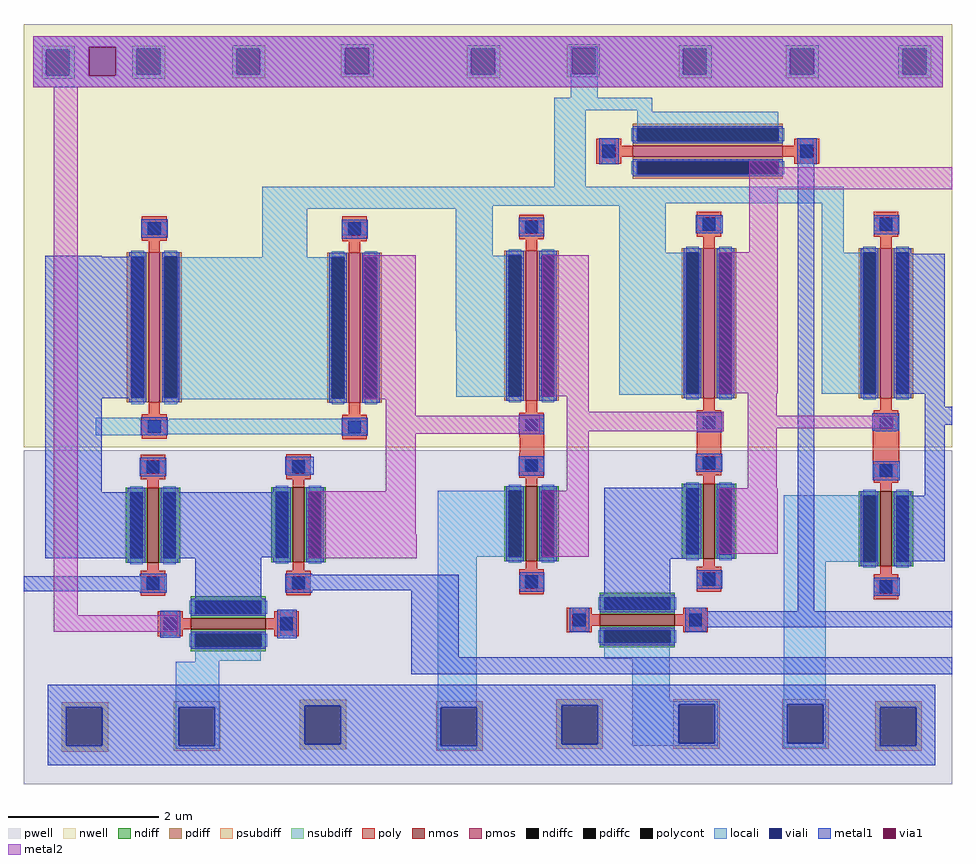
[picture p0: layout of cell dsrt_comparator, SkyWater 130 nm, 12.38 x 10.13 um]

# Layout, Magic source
magic
tech sky130A
magscale 1 2
<< nwell >>
rect -272 -1126 2204 2
<< pwell >>
rect -272 -2024 2204 -1134
<< psubdiff >>
rect -170 -1938 -46 -1806
rect 128 -1936 252 -1804
rect 464 -1932 588 -1800
rect 828 -1936 952 -1804
rect 1148 -1930 1272 -1798
rect 1460 -1930 1584 -1798
rect 1750 -1930 1874 -1798
rect 1998 -1936 2122 -1804
<< nsubdiff >>
rect -224 -144 -136 -56
rect 18 -144 106 -56
rect 284 -142 372 -54
rect 574 -140 662 -52
rect 910 -142 998 -54
rect 1176 -140 1264 -52
rect 1474 -142 1562 -54
rect 1760 -142 1848 -54
rect 2060 -142 2148 -54
<< poly >>
rect 1062 -1090 1104 -1048
rect 1050 -1152 1116 -1090
rect 1522 -1140 1588 -1084
rect 1062 -1196 1104 -1152
rect 1992 -1162 2062 -1084
<< locali >>
rect 1186 -62 1258 -58
rect 1186 -130 1190 -62
rect 1252 -130 1258 -62
rect 1186 -194 1258 -130
rect 1142 -228 1404 -194
rect 1142 -432 1226 -228
rect 1364 -232 1404 -228
rect 1364 -310 1740 -232
rect 364 -476 1914 -432
rect 364 -482 1440 -476
rect 364 -490 978 -482
rect 364 -620 484 -490
rect 880 -616 978 -490
rect 1316 -608 1440 -482
rect 1856 -608 1914 -476
rect 104 -998 584 -620
rect 880 -816 1054 -616
rect 882 -992 1054 -816
rect 1316 -986 1530 -608
rect 1856 -984 2000 -608
rect -80 -1054 38 -1048
rect 116 -1054 626 -1050
rect -80 -1092 626 -1054
rect -80 -1094 102 -1092
rect 832 -1418 1054 -1242
rect 186 -1696 360 -1624
rect 186 -1698 250 -1696
rect 134 -1820 250 -1698
rect 134 -1922 142 -1820
rect 238 -1922 250 -1820
rect 832 -1820 936 -1418
rect 1754 -1432 2004 -1254
rect 1276 -1690 1450 -1614
rect 1350 -1804 1450 -1690
rect 1350 -1812 1578 -1804
rect 134 -1930 250 -1922
rect 832 -1922 840 -1820
rect 1350 -1916 1474 -1812
rect 1570 -1916 1578 -1812
rect 1350 -1922 1578 -1916
rect 1754 -1812 1866 -1432
rect 1754 -1916 1764 -1812
rect 1860 -1916 1866 -1812
rect 832 -1932 936 -1922
rect 1754 -1926 1866 -1916
<< viali >>
rect -212 -134 -150 -66
rect 30 -132 92 -64
rect 296 -132 358 -64
rect 586 -130 648 -62
rect 922 -132 984 -64
rect 1190 -130 1252 -62
rect 1486 -132 1548 -64
rect 1772 -132 1834 -64
rect 2072 -132 2134 -64
rect -158 -1922 -62 -1820
rect 142 -1922 238 -1820
rect 478 -1918 574 -1816
rect 840 -1922 936 -1820
rect 1162 -1918 1258 -1814
rect 1474 -1916 1570 -1812
rect 1764 -1916 1860 -1812
rect 2012 -1922 2108 -1820
<< metal1 >>
rect -246 -58 2178 -30
rect -246 -66 -98 -58
rect -246 -134 -212 -66
rect -150 -134 -98 -66
rect -246 -136 -98 -134
rect -26 -62 2178 -58
rect -26 -64 586 -62
rect -26 -132 30 -64
rect 92 -132 296 -64
rect 358 -130 586 -64
rect 648 -64 1190 -62
rect 648 -130 922 -64
rect 358 -132 922 -130
rect 984 -130 1190 -64
rect 1252 -64 2178 -62
rect 1252 -130 1486 -64
rect 984 -132 1486 -130
rect 1548 -132 1772 -64
rect 1834 -132 2072 -64
rect 2134 -132 2178 -64
rect -26 -136 2178 -132
rect -246 -166 2178 -136
rect 1262 -372 1314 -302
rect 1790 -372 1842 -302
rect 42 -568 112 -518
rect 576 -570 646 -520
rect 1048 -564 1116 -514
rect 1520 -556 1592 -508
rect -214 -618 -64 -616
rect -214 -996 48 -618
rect -214 -1246 -64 -996
rect 40 -1094 112 -1046
rect 576 -1096 646 -1048
rect 1048 -1092 1116 -1040
rect 1522 -1086 1590 -1034
rect 38 -1204 108 -1154
rect 426 -1200 502 -1152
rect 1048 -1202 1116 -1150
rect 1520 -1192 1590 -1144
rect 1108 -1240 1116 -1238
rect -214 -1422 46 -1246
rect 100 -1380 434 -1246
rect 100 -1420 436 -1380
rect 100 -1422 362 -1420
rect 38 -1470 110 -1464
rect -272 -1510 110 -1470
rect 38 -1514 110 -1510
rect 92 -1634 146 -1562
rect 186 -1570 362 -1422
rect 1276 -1424 1526 -1234
rect 426 -1466 498 -1464
rect 426 -1508 888 -1466
rect 426 -1514 498 -1508
rect 404 -1636 456 -1560
rect 762 -1686 888 -1508
rect 1050 -1512 1116 -1460
rect 1184 -1618 1236 -1554
rect 1276 -1560 1452 -1424
rect 1522 -1504 1590 -1454
rect 1492 -1564 1548 -1554
rect 1792 -1564 1836 -372
rect 1994 -558 2062 -508
rect 2056 -984 2184 -610
rect 2130 -1018 2184 -984
rect 1990 -1082 2062 -1036
rect 2130 -1066 2204 -1018
rect 1992 -1214 2064 -1164
rect 2130 -1256 2184 -1066
rect 2054 -1430 2184 -1256
rect 1994 -1522 2064 -1474
rect 1492 -1606 2204 -1564
rect 1492 -1618 1548 -1606
rect 762 -1732 2204 -1686
rect -208 -1812 2158 -1760
rect -208 -1814 1474 -1812
rect -208 -1816 1162 -1814
rect -208 -1820 478 -1816
rect -208 -1922 -158 -1820
rect -62 -1922 142 -1820
rect 238 -1918 478 -1820
rect 574 -1820 1162 -1816
rect 574 -1918 840 -1820
rect 238 -1922 840 -1918
rect 936 -1918 1162 -1820
rect 1258 -1916 1474 -1814
rect 1570 -1916 1764 -1812
rect 1860 -1820 2158 -1812
rect 1860 -1916 2012 -1820
rect 1258 -1918 2012 -1916
rect 936 -1922 2012 -1918
rect 2108 -1922 2158 -1820
rect -208 -1974 2158 -1922
<< via1 >>
rect -98 -136 -26 -58
<< metal2 >>
rect -246 -58 2178 -30
rect -246 -136 -98 -58
rect -26 -136 2178 -58
rect -246 -166 2178 -136
rect -192 -1574 -128 -166
rect 1662 -380 1740 -364
rect 1662 -438 2204 -380
rect 1662 -606 1738 -438
rect 634 -998 774 -614
rect 1110 -990 1234 -614
rect 1582 -982 1738 -606
rect 694 -1042 774 -998
rect 1176 -1032 1234 -990
rect 694 -1090 1104 -1042
rect 1176 -1084 1594 -1032
rect 1658 -1042 1736 -982
rect 1658 -1076 2046 -1042
rect 694 -1244 774 -1090
rect 1176 -1242 1234 -1084
rect 1658 -1236 1736 -1076
rect 488 -1358 774 -1244
rect 488 -1422 776 -1358
rect 1110 -1418 1234 -1242
rect 1582 -1410 1738 -1236
rect -192 -1618 140 -1574
use sky130_fd_pr__nfet_01v8_Y5M242  XM1
transform 1 0 73 0 1 -1334
box -73 -188 73 188
use sky130_fd_pr__nfet_01v8_Y5M242  XM2
transform 1 0 461 0 1 -1333
box -73 -188 73 188
use sky130_fd_pr__pfet_01v8_YR6QPW  XM3
transform 1 0 610 0 1 -808
box -109 -300 109 300
use sky130_fd_pr__pfet_01v8_YR6QPW  XM4
transform 1 0 76 0 1 -807
box -109 -300 109 300
use sky130_fd_pr__nfet_01v8_Y5M242  XM5
transform 0 1 274 1 0 -1597
box -73 -188 73 188
use sky130_fd_pr__pfet_01v8_YR6QPW  XM6
transform 1 0 1082 0 1 -803
box -109 -300 109 300
use sky130_fd_pr__nfet_01v8_Y5M242  XM7
transform 1 0 1082 0 1 -1330
box -73 -188 73 188
use sky130_fd_pr__pfet_01v8_YR6QPW  XM8
transform 1 0 1555 0 1 -796
box -109 -300 109 300
use sky130_fd_pr__nfet_01v8_Y5M242  XM9
transform 1 0 1555 0 1 -1323
box -73 -188 73 188
use sky130_fd_pr__pfet_01v8_YR6QPW  XM10
transform 1 0 2027 0 1 -796
box -109 -300 109 300
use sky130_fd_pr__nfet_01v8_Y5M242  XM11
transform 1 0 2027 0 1 -1343
box -73 -188 73 188
use sky130_fd_pr__pfet_01v8_YR6QPW  XM12
transform 0 -1 1552 1 0 -337
box -109 -300 109 300
use sky130_fd_pr__nfet_01v8_Y5M242  XM13
transform 0 1 1364 -1 0 -1587
box -73 -188 73 188
<< end >>

# cell sky130_fd_pr__nfet_01v8_Y5M242: kit device sky130_fd_pr__nfet_01v8, w 1.0 l 0.15 m 1 nf 1 diffcov 100 polycov 100 guard 0 glc 1 grc 1 gtc 1 gbc 1 tbcov 100 rlcov 100 topc 1 botc 1 poverlap 0 doverlap 1 lmin 0.15 wmin 0.42 class mosfet compatible {sky130_fd_pr__nfet_01v8 sky130_fd_pr__nfet_01v8_lvt sky130_fd_bs_flash__special_sonosfet_star sky130_fd_pr__nfet_g5v0d10v5 sky130_fd_pr__nfet_05v0_nvt sky130_fd_pr__nfet_03v3_nvt} full_metal 1 conn_gates 0 viasrc 100 viadrn 100 viagate 100 viagb 0 viagr 0 viagl 0 viagt 0 doports 1

# cell sky130_fd_pr__pfet_01v8_YR6QPW: kit device sky130_fd_pr__pfet_01v8, w 2.0 l 0.15 m 1 nf 1 diffcov 100 polycov 100 guard 0 glc 1 grc 1 gtc 1 gbc 1 tbcov 100 rlcov 100 topc 1 botc 1 poverlap 0 doverlap 1 lmin 0.15 wmin 0.42 class mosfet compatible {sky130_fd_pr__pfet_01v8 sky130_fd_pr__pfet_01v8_lvt sky130_fd_pr__pfet_01v8_hvt sky130_fd_pr__pfet_g5v0d10v5} full_metal 1 conn_gates 0 viasrc 100 viadrn 100 viagate 100 viagb 0 viagr 0 viagl 0 viagt 0 doports 1
